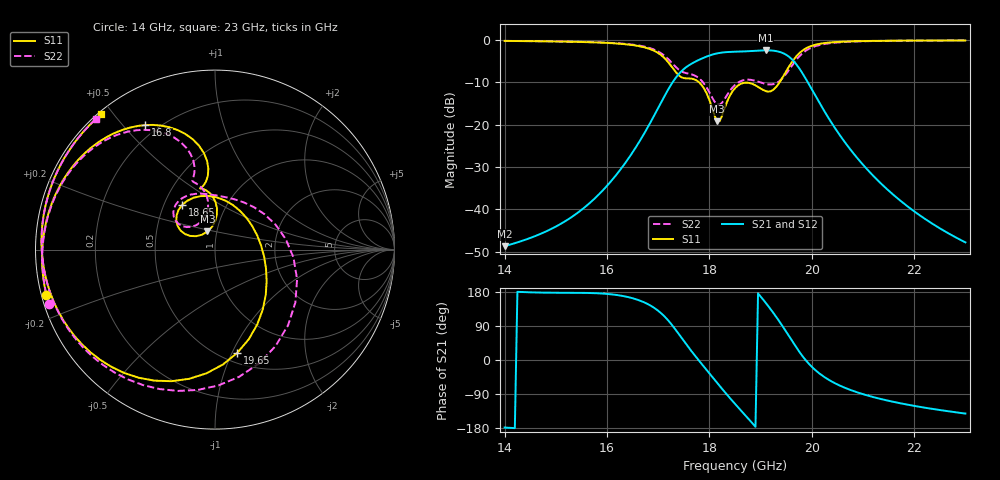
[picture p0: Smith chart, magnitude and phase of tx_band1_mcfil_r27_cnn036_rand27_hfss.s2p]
! Touchstone file exported from HFSS 3D Layout Design 2026.1.0
!  File:  D:/Work/SIM/ADS_AUTO_SIM/projects/RFSOC_RF/TX_Fillter.aedt
!  Generated:  02:15:40 AM Aug 31, 2026
!  Design:  TX_BAND1_MCFIL_R27_CNN036
!  Project:  TX_Fillter
# GHz S MA R 50.000000
! Terminal data exported
! Port[1] = Port1
! Port[2] = Port2
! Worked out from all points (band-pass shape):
!   181 points, 14 GHz to 23 GHz, reference 50 ohm
!   highest |S21| = -2.45 dB at 19.1 GHz (marker M1); lowest = -48.7 dB at 14 GHz (marker M2)
!   |S21| within 3 dB of the highest: 17.67 GHz to 19.68 GHz (2.002 GHz wide, 10.7 % of centre)
!   lowest |S11| = -19.2 dB at 18.15 GHz (marker M3), VSWR 1.25, Z = 45.1 + j9.21 ohm
!   |S11| at or under -10 dB: 17.8 GHz to 19.37 GHz (1.572 GHz wide, 8.46 % of centre)
!   |S22| runs from -15.3 to -0.1 dB; largest |S21 - S12| = 1.6e-14
!   S11 on the Smith chart (normalised r, x): 14 GHz: 0.01, -0.13; 16.8 GHz: 0.15, +0.58; 18.65 GHz: 0.62, +0.34; 19.65 GHz: 0.59, -1.05; 23 GHz: 0.01, +0.47
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14  0.973 -164.9  0.00369 -178.3  0.00369 -178.3  0.9738 -161.9
15.5  0.9456 164.7  0.009872 177.2  0.009872 177.2  0.9484 168.4
16.25  0.9015 143.1  0.02892 170.3  0.02892 170.3  0.9085 147.9
16.8  0.7949 119.2  0.09414 147.3  0.09414 147.3  0.8137 125.9
17  0.6993 107.5  0.1575 129.8  0.1575 129.8  0.7292 115.5
17.25  0.4961 95.1  0.2953 95.6  0.2953 95.6  0.5502 104.3
17.5  0.3543 102.4  0.453 50.2  0.453 50.2  0.4133 107.4
17.85  0.2926 92.1  0.6021 -10.5  0.6021 -10.5  0.3288 100.2
18.15  0.1093 112.5  0.6935 -60.2  0.6935 -60.2  0.1728 117.2
18.3  0.1583 151.2  0.7154 -84.6  0.7154 -84.6  0.2023 141.7
18.5  0.2694 143.2  0.7256 -115.7  0.7256 -115.7  0.2944 141.3
18.65  0.3091 126.1  0.7306 -138.2  0.7306 -138.2  0.333 130.9
18.9  0.291 88.0  0.7455 -176.3  0.7455 -176.3  0.329 109.2
19.1  0.2489 44.6  0.7541 150.9  0.7541 150.9  0.3023 89.2
19.4  0.3375 -31.5  0.7128 95.1  0.7128 95.1  0.3396 35.3
19.65  0.5892 -77.9  0.5581 42.9  0.5581 42.9  0.5357 -33.2
19.85  0.7722 -108.3  0.3754 4.7  0.3754 4.7  0.7214 -79.3
20  0.8531 -126.3  0.2613 -17.9  0.2613 -17.9  0.8139 -104.7
20.25  0.9184 -148.2  0.1428 -45.4  0.1428 -45.4  0.8954 -134.0
20.55  0.9502 -166.2  0.07484 -67.7  0.07484 -67.7  0.9378 -156.6
21.5  0.9782 160.4  0.0167 -107.7  0.0167 -107.7  0.9756 164.7
23  0.9852 129.9  0.004091 -141.3  0.004091 -141.3  0.9849 132.3
